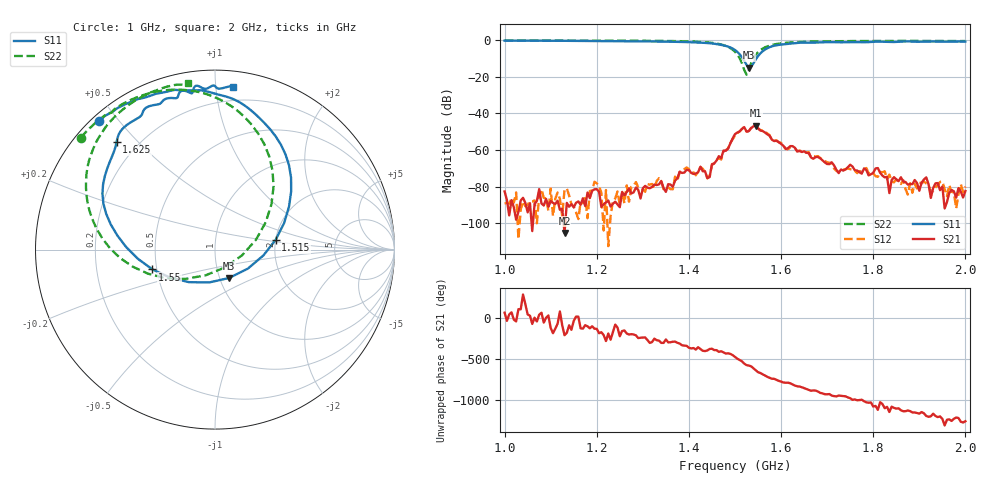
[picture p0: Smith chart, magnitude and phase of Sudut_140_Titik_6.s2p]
# Hz S RI R 50
! CMT, C1220, 16058040, 17.2.0/1
! Date: 14/08/2018 12:22:03
! Data: Format (Calibration Info)
! Freq  S11: Re/Im (F2)  S21: Re/Im (F2)  S12: Re/Im (F2)  S22: Re/Im (F2)
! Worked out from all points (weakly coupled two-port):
!   201 points, 1 GHz to 2 GHz, reference 50 ohm
!   highest |S21| = -46.80 dB at 1.545 GHz (marker M1); lowest = -105.3 dB at 1.13 GHz (marker M2)
!   lowest |S11| = -15.1 dB at 1.53 GHz (marker M3), VSWR 1.43, Z = 55.5 - j18.1 ohm
!   |S11| at or under -10 dB: 1.517 GHz to 1.547 GHz (29.83 MHz wide, 1.95 % of centre)
!   |S22| runs from -18.9 to -0.2 dB; largest |S21 - S12| = 0.00024
!   S11 on the Smith chart (normalised r, x): 1 GHz: 0.02, +0.44; 1.515 GHz: 2.00, +0.25; 1.55 GHz: 0.47, -0.12; 1.625 GHz: 0.12, +0.43; 2 GHz: 0.11, +1.11
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1e9  -0.6451 0.7158  3.22e-05 6.62e-05  1.56e-06 3.45e-05  -0.748 0.6242
1.13e9  -0.5086 0.806  -4.65e-06 2.78e-06  -3.75e-05 -7.35e-05  -0.6501 0.72
1.17e9  -0.4674 0.8235  -3.09e-05 -3.69e-05  -2.3e-05 -2.67e-05  -0.6114 0.7487
1.325e9  -0.2163 0.8897  -3.47e-05 0.000108  -2.64e-06 8.94e-05  -0.4158 0.8557
1.335e9  -0.2012 0.8882  1.32e-05 0.000114  5.11e-05 0.000161  -0.3962 0.8621
1.365e9  -0.1115 0.8881  3.39e-05 9.34e-05  2.09e-05 8.23e-05  -0.3288 0.8799
1.38e9  -0.0736 0.8869  0.000172 0.000188  0.000138 0.00021  -0.2878 0.8865
1.425e9  0.0849 0.8451  0.000328 -0.000117  0.000279 -0.000199  -0.1157 0.8826
1.44e9  0.1452 0.8159  0.000138 -9.98e-05  0.00011 -0.000128  -0.0366 0.8627
1.5e9  0.4243 0.3241  -0.00113 -0.00246  -0.00101 -0.00226  0.3261 0.3498
1.515e9  0.338 0.0546  -0.00365 -0.000754  -0.00366 -0.000833  0.2282 0.0546
1.53e9  0.079 -0.1581  -0.00247 0.00214  -0.00247 0.00217  -0.0531 -0.1435
1.545e9  -0.2523 -0.1552  0.000608 0.00453  0.000458 0.00446  -0.3734 -0.1342
1.55e9  -0.3486 -0.1103  0.002 0.00333  0.00189 0.00339  -0.4577 -0.0953
1.625e9  -0.5485 0.5982  -1e-05 -0.00127  -1.28e-05 -0.0012  -0.6934 0.5218
1.67e9  -0.4229 0.7367  -0.000552 -0.000167  -0.000651 -0.000189  -0.6177 0.6707
1.725e9  -0.3167 0.8092  -0.000162 0.000168  -0.000163 0.000187  -0.5279 0.7682
1.785e9  -0.2085 0.8479  0.000178 0.00022  0.000164 0.000277  -0.4397 0.8329
1.81e9  -0.1851 0.8844  0.000245 -0.000207  0.000176 -5.41e-05  -0.4046 0.8534
1.835e9  -0.134 0.8716  2.64e-05 -6.1e-05  0.00018 -0.000112  -0.3712 0.8696
1.845e9  -0.1256 0.8744  0.000174 -4.99e-05  0.000104 -7.88e-05  -0.3576 0.876
2e9  0.098 0.9047  -7.58e-05 -1.1e-06  -8.67e-05 -5.08e-05  -0.1487 0.9277
